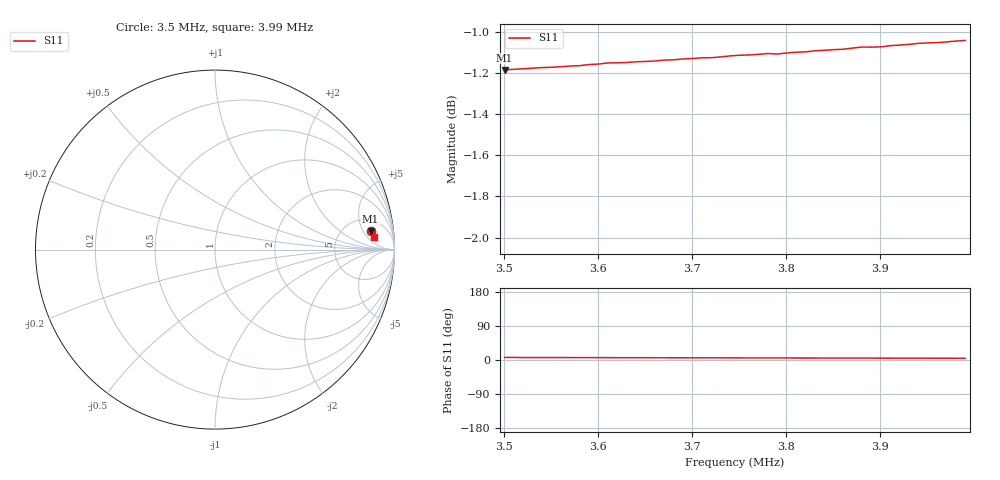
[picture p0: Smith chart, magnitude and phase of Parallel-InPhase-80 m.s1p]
# HZ S RI R 50
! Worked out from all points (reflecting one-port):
!   50 points, 3.5 MHz to 3.99 MHz, reference 50 ohm
!   lowest |S11| = -1.2 dB at 3.5 MHz (marker M1), VSWR 14.68, Z = 427 + j361 ohm
!   phase of S11 starts at 7 deg and turns -2 deg over the sweep
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3500200  0.8666 0.1009
3520208  0.8673 0.1001
3560224  0.8686 0.097
3570228  0.869 0.0965
3580232  0.8693 0.0959
3590236  0.8698 0.0959
3600240  0.8702 0.0944
3610244  0.8708 0.0946
3630252  0.8711 0.0933
3660264  0.8721 0.0911
3690276  0.8733 0.0895
3700280  0.8736 0.0887
3720288  0.8741 0.0876
3730292  0.8746 0.0869
3750300  0.8755 0.0859
3770308  0.8761 0.0843
3780312  0.8765 0.0838
3790316  0.8763 0.0827
3810324  0.8774 0.0817
3860344  0.8791 0.0785
3870348  0.8798 0.0776
3880352  0.8803 0.0772
3900360  0.8805 0.0759
3920368  0.8815 0.0751
3930372  0.8819 0.0743
3950380  0.8827 0.0733
3970388  0.8833 0.0719
3990396  0.8842 0.0707
